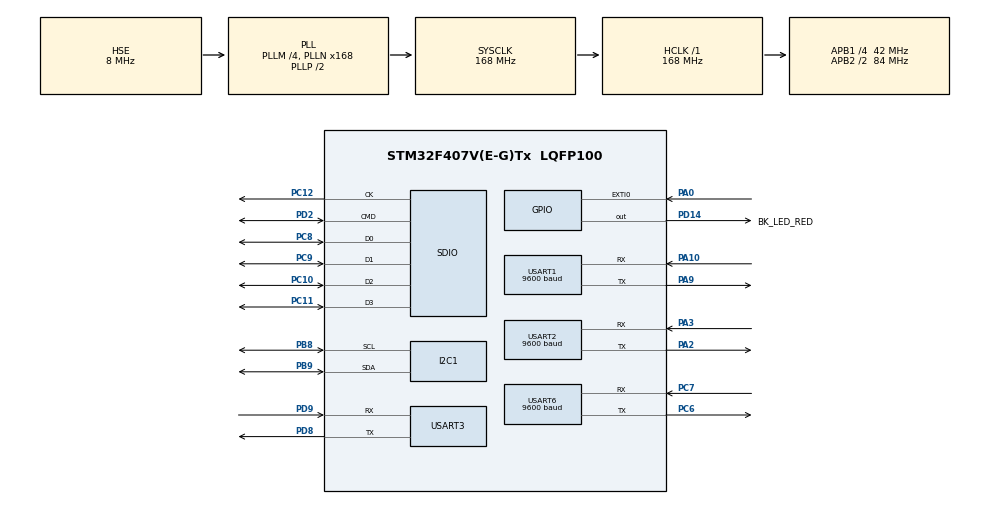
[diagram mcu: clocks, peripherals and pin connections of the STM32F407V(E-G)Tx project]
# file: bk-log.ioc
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Dma.I2C1_RX.0.Direction=DMA_PERIPH_TO_MEMORY
Dma.I2C1_RX.0.FIFOMode=DMA_FIFOMODE_DISABLE
Dma.I2C1_RX.0.Instance=DMA1_Stream0
Dma.I2C1_RX.0.MemDataAlignment=DMA_MDATAALIGN_BYTE
Dma.I2C1_RX.0.MemInc=DMA_MINC_ENABLE
Dma.I2C1_RX.0.Mode=DMA_CIRCULAR
Dma.I2C1_RX.0.PeriphDataAlignment=DMA_PDATAALIGN_BYTE
Dma.I2C1_RX.0.PeriphInc=DMA_PINC_DISABLE
Dma.I2C1_RX.0.Priority=DMA_PRIORITY_LOW
Dma.Request0=I2C1_RX
FATFS._LFN_UNICODE=0
FATFS._MAX_LFN=20
FATFS._USE_LFN=0
I2C1.I2C_Mode=I2C_Fast
Mcu.Family=STM32F4
Mcu.Name=STM32F407V(E-G)Tx
Mcu.Package=LQFP100
NVIC.DMA1_Stream0_IRQn=true\:0\:0\:false\:false\:true
NVIC.EXTI0_IRQn=true\:0\:0\:false\:false\:true
NVIC.I2C1_EV_IRQn=true\:0\:0\:false\:false\:true
NVIC.PriorityGroup=NVIC_PRIORITYGROUP_0
NVIC.TIM2_IRQn=true\:0\:0\:false\:false\:true
PA0-WKUP.Signal=GPXTI0
PA10.Mode=Asynchronous
PA10.Signal=USART1_RX
PA2.Mode=Asynchronous
PA2.Signal=USART2_TX
PA3.Mode=Asynchronous
PA3.Signal=USART2_RX
PA9.Mode=Asynchronous
PA9.Signal=USART1_TX
PB8.Mode=I2C
PB8.Signal=I2C1_SCL
PB9.Mode=I2C
PB9.Signal=I2C1_SDA
PC10.Mode=SD_4_bits_Wide_bus
PC10.Signal=SDIO_D2
PC11.Mode=SD_4_bits_Wide_bus
PC11.Signal=SDIO_D3
PC12.Mode=SD_4_bits_Wide_bus
PC12.Signal=SDIO_CK
PC6.Mode=Asynchronous
PC6.Signal=USART6_TX
PC7.Mode=Asynchronous
PC7.Signal=USART6_RX
PC8.Mode=SD_4_bits_Wide_bus
PC8.Signal=SDIO_D0
PC9.Mode=SD_4_bits_Wide_bus
PC9.Signal=SDIO_D1
PD14.GPIO_Label=BK_LED_RED
PD14.Signal=GPIO_Output
PD2.Mode=SD_4_bits_Wide_bus
PD2.Signal=SDIO_CMD
PD8.Mode=Asynchronous
PD8.Signal=USART3_TX
PD9.Mode=Asynchronous
PD9.Signal=USART3_RX
PH0-OSC_IN.Mode=HSE-External-Oscillator
PH0-OSC_IN.Signal=RCC_OSC_IN
PH1-OSC_OUT.Mode=HSE-External-Oscillator
PH1-OSC_OUT.Signal=RCC_OSC_OUT
ProjectManager.HeapSize=0x2000
ProjectManager.StackSize=0x4000
ProjectManager.TargetToolchain=SW4STM32
RCC.48MHZClocksFreq_Value=48000000
RCC.AHBFreq_Value=168000000
RCC.APB1CLKDivider=RCC_HCLK_DIV4
RCC.APB1Freq_Value=42000000
RCC.APB1TimFreq_Value=84000000
RCC.APB2CLKDivider=RCC_HCLK_DIV2
RCC.APB2Freq_Value=84000000
RCC.APB2TimFreq_Value=168000000
RCC.CortexFreq_Value=168000000
RCC.HCLKFreq_Value=168000000
RCC.HSE_VALUE=8000000
RCC.HSI_VALUE=16000000
RCC.LSE_VALUE=32768
RCC.PLLM=4
RCC.PLLN=168
RCC.PLLQ=7
RCC.PLLSourceVirtual=RCC_PLLSOURCE_HSE
RCC.SYSCLKFreq_VALUE=168000000
RCC.SYSCLKSource=RCC_SYSCLKSOURCE_PLLCLK
RCC.VCOOutputFreq_Value=336000000
TIM2.Period=2499
TIM2.Prescaler=8
USART1.BaudRate=9600
USART1.OverSampling=UART_OVERSAMPLING_8
USART1.VirtualMode=VM_ASYNC
USART2.BaudRate=9600
USART2.OverSampling=UART_OVERSAMPLING_8
USART2.VirtualMode=VM_ASYNC
USART3.VirtualMode=VM_ASYNC
USART6.BaudRate=9600
USART6.OverSampling=UART_OVERSAMPLING_8
USART6.VirtualMode=VM_ASYNC
VP_FATFS_VS_SDIO.Mode=SDIO
VP_TIM2_VS_ClockSourceINT.Mode=Internal
board=STM32F4DISCOVERY

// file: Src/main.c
/**
  ******************************************************************************
  * File Name          : main.c
  * Description        : Main program body
  ******************************************************************************
  * This notice applies to any and all portions of this file
  * that are not between comment pairs USER CODE BEGIN and
  * USER CODE END. Other portions of this file, whether
  * inserted by the user or by software development tools
  * are owned by their respective copyright owners.
  *
  * Copyright (c) 2017 STMicroelectronics International N.V.
  * All rights reserved.
  *
  * Redistribution and use in source and binary forms, with or without
  * modification, are permitted, provided that the following conditions are met:
  *
  * 1. Redistribution of source code must retain the above copyright notice,
  *    this list of conditions and the following disclaimer.
  * 2. Redistributions in binary form must reproduce the above copyright notice,
  *    this list of conditions and the following disclaimer in the documentation
  *    and/or other materials provided with the distribution.
  * 3. Neither the name of STMicroelectronics nor the names of other
  *    contributors to this software may be used to endorse or promote products
  *    derived from this software without specific written permission.
  * 4. This software, including modifications and/or derivative works of this
  *    software, must execute solely and exclusively on microcontroller or
  *    microprocessor devices manufactured by or for STMicroelectronics.
  * 5. Redistribution and use of this software other than as permitted under
  *    this license is void and will automatically terminate your rights under
  *    this license.
  *
  * THIS SOFTWARE IS PROVIDED BY STMICROELECTRONICS AND CONTRIBUTORS "AS IS"
  * AND ANY EXPRESS, IMPLIED OR STATUTORY WARRANTIES, INCLUDING, BUT NOT
  * LIMITED TO, THE IMPLIED WARRANTIES OF MERCHANTABILITY, FITNESS FOR A
  * PARTICULAR PURPOSE AND NON-INFRINGEMENT OF THIRD PARTY INTELLECTUAL PROPERTY
  * RIGHTS ARE DISCLAIMED TO THE FULLEST EXTENT PERMITTED BY LAW. IN NO EVENT
  * SHALL STMICROELECTRONICS OR CONTRIBUTORS BE LIABLE FOR ANY DIRECT, INDIRECT,
  * INCIDENTAL, SPECIAL, EXEMPLARY, OR CONSEQUENTIAL DAMAGES (INCLUDING, BUT NOT
  * LIMITED TO, PROCUREMENT OF SUBSTITUTE GOODS OR SERVICES; LOSS OF USE, DATA,
  * OR PROFITS; OR BUSINESS INTERRUPTION) HOWEVER CAUSED AND ON ANY THEORY OF
  * LIABILITY, WHETHER IN CONTRACT, STRICT LIABILITY, OR TORT (INCLUDING
  * NEGLIGENCE OR OTHERWISE) ARISING IN ANY WAY OUT OF THE USE OF THIS SOFTWARE,
  * EVEN IF ADVISED OF THE POSSIBILITY OF SUCH DAMAGE.
  *
  ******************************************************************************
  */
#include "main.h"
#include "stm32f4xx_hal.h"
#include "fatfs.h"

/* USER CODE BEGIN Includes */
#include "metroTask.h"
#include <string.h>
#define DS3231_SLAVE_ADDRESS 0x68
/* USER CODE END Includes */

I2C_HandleTypeDef hi2c1;
DMA_HandleTypeDef hdma_i2c1_rx;

SD_HandleTypeDef hsd;

TIM_HandleTypeDef htim2;

UART_HandleTypeDef huart1;
UART_HandleTypeDef huart2;
UART_HandleTypeDef huart3;
UART_HandleTypeDef huart6;

/* USER CODE BEGIN PV */
/* Private variables ---------------------------------------------------------*/
uint8_t seconds, minutes, hours, day, date, month, year;
uint8_t sendData[7], receiveData[7];
FATFS SDFatFS;
FIL logFile;
FRESULT sdRes;
char filename[20];
uint32_t uwPrescalerValue = 8;
/* USER CODE END PV */

void SystemClock_Config(void);
static void MX_GPIO_Init(void);
static void MX_DMA_Init(void);
static void MX_I2C1_Init(void);
static void MX_SDIO_SD_Init(void);
static void MX_USART3_UART_Init(void);
static void MX_USART1_UART_Init(void);
static void MX_USART2_UART_Init(void);
static void MX_USART6_UART_Init(void);
static void MX_TIM2_Init(void);

/* USER CODE BEGIN PFP */
/* Private function prototypes -----------------------------------------------*/
static uint8_t DEC2BCD(uint8_t d);
static uint8_t BCD2DEC(uint8_t d);
/* USER CODE END PFP */

int main(void)
{

  /* USER CODE BEGIN 1 */
	uint32_t byteswritten;
  /* USER CODE END 1 */

  /* MCU Configuration----------------------------------------------------------*/

  /* Reset of all peripherals, Initializes the Flash interface and the Systick. */
  HAL_Init();

  /* Configure the system clock */
  SystemClock_Config();

  /* Initialize all configured peripherals */
  MX_GPIO_Init();
  MX_DMA_Init();
  MX_I2C1_Init();
  MX_SDIO_SD_Init();
  MX_FATFS_Init();
  MX_USART3_UART_Init();
  MX_USART1_UART_Init();
  MX_USART2_UART_Init();
  MX_USART6_UART_Init();
  MX_TIM2_Init();

  /* USER CODE BEGIN 2 */
  METRO_Init();
  /* Start Timer Channel1 in interrupt mode*/
	if (HAL_TIM_Base_Start_IT(&htim2) != HAL_OK)
	{
	  // Starting Error
		_Error_Handler(__FILE__, __LINE__);
	}
  //  SD_state = BSP_SD_Init();
  //  if(SD_state != MSD_OK) {
  //  	  while(1);
  //  }
  if(retSD == 0){
	  if(f_mount(&SDFatFS, (TCHAR const*)SD_Path, 0) != FR_OK) {
		  _Error_Handler(__FILE__, __LINE__);
	  } else{
		  FRESULT fr;
		  FILINFO fno;
		  char buf[256],timestamp[20];
		  uint8_t headerRow = 1;
		  HAL_I2C_Mem_Read_DMA(&hi2c1,DS3231_SLAVE_ADDRESS <<1,0,I2C_MEMADD_SIZE_8BIT,receiveData, 7);
		  HAL_Delay(200);
		  sprintf(filename,"%02d-%02d-%d.csv",date,month,year);
		  HAL_UART_Transmit(&huart3,filename,strlen(filename),100);
		  HAL_UART_Transmit(&huart3,"\n",2,100);
		  fr = f_stat(filename, &fno);
		  if(fr == FR_OK){
			  headerRow = 0;
		  }
		  if(f_open(&logFile,filename,FA_OPEN_ALWAYS | FA_WRITE | FA_READ) != FR_OK){
			  _Error_Handler(__FILE__, __LINE__);
		  } else{
			  if(headerRow == 1) {
				  sprintf(buf,"Timestamp,Channel,VRMS,IRMS,ENACT,POWACT,ENAPP,ENREA,POWAPP,FREQ\n");
				  sdRes = f_write(&logFile, buf, strlen(buf),(void *)&byteswritten);
			  }
			  f_lseek(&logFile,f_size(&logFile));

			  while(1){
				  uint32_t RMS_V=0;
				  uint32_t RMS_I=0;
				  int32_t Period=0;
				  int32_t POW_ACT,POW_REACT,POW_APP;
				  int32_t EN_ACT,EN_REACT,EN_APP;

				  HAL_I2C_Mem_Read_DMA(&hi2c1,DS3231_SLAVE_ADDRESS <<1,0,I2C_MEMADD_SIZE_8BIT,receiveData, 7);
				  HAL_Delay(20);
				  sprintf(timestamp,"%02d-%02d-%d#%02d:%02d:%02d",date,month,year,hours,minutes,seconds);

				  if (metroData.metroInactiveTime >= METRO_TIMER) {
					metroData.metroInactiveTime = 0;
					HAL_GPIO_TogglePin(LED2_GPIO_type, LED2_GPIO_pin);
					METRO_Latch_Measures();
					HAL_Delay(20);
					METRO_Get_Measures();
					METRO_UpdateData();

					for(BYTE d=1;d<3;d++){
						Metro_Read_RMS(d,&RMS_V,&RMS_I,1);
						Period = Metro_Read_Period(d);
						EN_ACT = Metro_Read_energy(d,E_W_ACTIVE);
						EN_REACT = Metro_Read_energy(d,E_REACTIVE);
						EN_APP = Metro_Read_energy(d,E_APPARENT);

						POW_ACT = Metro_Read_Power(d, W_ACTIVE);
						POW_REACT = Metro_Read_Power(d, REACTIVE);
						POW_APP = Metro_Read_Power(d, APPARENT_RMS);

						sprintf(buf,"%s,%d,%d,%d,%d,%d,%d,%d,%d,%d,%d\n",
								timestamp,d,
								RMS_V,RMS_I,
								EN_ACT,POW_ACT,
								EN_APP,EN_REACT,
								POW_APP,POW_REACT,
								Period);
						sdRes =f_write(&logFile, buf, strlen(buf), (void *)&byteswritten);
						HAL_UART_Transmit(&huart3,buf,strlen(buf),100);
						if(d != 2){
							HAL_Delay(100);
						}
					}
				    f_sync(&logFile);
				  } //metroData.metroInactiveTime
			  }
		  }
	  }
  }
  FATFS_UnLinkDriver(SD_Path);
  /* USER CODE END 2 */

  /* Infinite loop */
  while (1)
  {

  }

}

/** System Clock Configuration
*/
void SystemClock_Config(void)
{

  RCC_OscInitTypeDef RCC_OscInitStruct;
  RCC_ClkInitTypeDef RCC_ClkInitStruct;

    /**Configure the main internal regulator output voltage
    */
  __HAL_RCC_PWR_CLK_ENABLE();

  __HAL_PWR_VOLTAGESCALING_CONFIG(PWR_REGULATOR_VOLTAGE_SCALE1);

    /**Initializes the CPU, AHB and APB busses clocks
    */
  RCC_OscInitStruct.OscillatorType = RCC_OSCILLATORTYPE_HSE;
  RCC_OscInitStruct.HSEState = RCC_HSE_ON;
  RCC_OscInitStruct.PLL.PLLState = RCC_PLL_ON;
  RCC_OscInitStruct.PLL.PLLSource = RCC_PLLSOURCE_HSE;
  RCC_OscInitStruct.PLL.PLLM = 4;
  RCC_OscInitStruct.PLL.PLLN = 168;
  RCC_OscInitStruct.PLL.PLLP = RCC_PLLP_DIV2;
  RCC_OscInitStruct.PLL.PLLQ = 7;
  if (HAL_RCC_OscConfig(&RCC_OscInitStruct) != HAL_OK)
  {
    _Error_Handler(__FILE__, __LINE__);
  }

    /**Initializes the CPU, AHB and APB busses clocks
    */
  RCC_ClkInitStruct.ClockType = RCC_CLOCKTYPE_HCLK|RCC_CLOCKTYPE_SYSCLK
                              |RCC_CLOCKTYPE_PCLK1|RCC_CLOCKTYPE_PCLK2;
  RCC_ClkInitStruct.SYSCLKSource = RCC_SYSCLKSOURCE_PLLCLK;
  RCC_ClkInitStruct.AHBCLKDivider = RCC_SYSCLK_DIV1;
  RCC_ClkInitStruct.APB1CLKDivider = RCC_HCLK_DIV4;
  RCC_ClkInitStruct.APB2CLKDivider = RCC_HCLK_DIV2;

  if (HAL_RCC_ClockConfig(&RCC_ClkInitStruct, FLASH_LATENCY_5) != HAL_OK)
  {
    _Error_Handler(__FILE__, __LINE__);
  }

    /**Configure the Systick interrupt time
    */
  HAL_SYSTICK_Config(HAL_RCC_GetHCLKFreq()/1000);

    /**Configure the Systick
    */
  HAL_SYSTICK_CLKSourceConfig(SYSTICK_CLKSOURCE_HCLK);

  /* SysTick_IRQn interrupt configuration */
  HAL_NVIC_SetPriority(SysTick_IRQn, 0, 0);
}

/* I2C1 init function */
static void MX_I2C1_Init(void)
{

  hi2c1.Instance = I2C1;
  hi2c1.Init.ClockSpeed = 400000;
  hi2c1.Init.DutyCycle = I2C_DUTYCYCLE_2;
  hi2c1.Init.OwnAddress1 = 0;
  hi2c1.Init.AddressingMode = I2C_ADDRESSINGMODE_7BIT;
  hi2c1.Init.DualAddressMode = I2C_DUALADDRESS_DISABLE;
  hi2c1.Init.OwnAddress2 = 0;
  hi2c1.Init.GeneralCallMode = I2C_GENERALCALL_DISABLE;
  hi2c1.Init.NoStretchMode = I2C_NOSTRETCH_DISABLE;
  if (HAL_I2C_Init(&hi2c1) != HAL_OK)
  {
    _Error_Handler(__FILE__, __LINE__);
  }

}

/* SDIO init function */
static void MX_SDIO_SD_Init(void)
{

  hsd.Instance = SDIO;
  hsd.Init.ClockEdge = SDIO_CLOCK_EDGE_RISING;
  hsd.Init.ClockBypass = SDIO_CLOCK_BYPASS_DISABLE;
  hsd.Init.ClockPowerSave = SDIO_CLOCK_POWER_SAVE_DISABLE;
  hsd.Init.BusWide = SDIO_BUS_WIDE_1B;
  hsd.Init.HardwareFlowControl = SDIO_HARDWARE_FLOW_CONTROL_DISABLE;
  hsd.Init.ClockDiv = 0;

}

/* TIM2 init function */
static void MX_TIM2_Init(void)
{

  TIM_ClockConfigTypeDef sClockSourceConfig;
  TIM_MasterConfigTypeDef sMasterConfig;

  htim2.Instance = TIM2;
  htim2.Init.Prescaler = 8;
  htim2.Init.CounterMode = TIM_COUNTERMODE_UP;
  htim2.Init.Period = 2499;
  htim2.Init.ClockDivision = TIM_CLOCKDIVISION_DIV1;
  if (HAL_TIM_Base_Init(&htim2) != HAL_OK)
  {
    _Error_Handler(__FILE__, __LINE__);
  }

  sClockSourceConfig.ClockSource = TIM_CLOCKSOURCE_INTERNAL;
  if (HAL_TIM_ConfigClockSource(&htim2, &sClockSourceConfig) != HAL_OK)
  {
    _Error_Handler(__FILE__, __LINE__);
  }

  sMasterConfig.MasterOutputTrigger = TIM_TRGO_RESET;
  sMasterConfig.MasterSlaveMode = TIM_MASTERSLAVEMODE_DISABLE;
  if (HAL_TIMEx_MasterConfigSynchronization(&htim2, &sMasterConfig) != HAL_OK)
  {
    _Error_Handler(__FILE__, __LINE__);
  }

}

/* USART1 init function */
static void MX_USART1_UART_Init(void)
{

  huart1.Instance = USART1;
  huart1.Init.BaudRate = 9600;
  huart1.Init.WordLength = UART_WORDLENGTH_8B;
  huart1.Init.StopBits = UART_STOPBITS_1;
  huart1.Init.Parity = UART_PARITY_NONE;
  huart1.Init.Mode = UART_MODE_TX_RX;
  huart1.Init.HwFlowCtl = UART_HWCONTROL_NONE;
  huart1.Init.OverSampling = UART_OVERSAMPLING_8;
  if (HAL_UART_Init(&huart1) != HAL_OK)
  {
    _Error_Handler(__FILE__, __LINE__);
  }

}

/* USART2 init function */
static void MX_USART2_UART_Init(void)
{

  huart2.Instance = USART2;
  huart2.Init.BaudRate = 9600;
  huart2.Init.WordLength = UART_WORDLENGTH_8B;
  huart2.Init.StopBits = UART_STOPBITS_1;
  huart2.Init.Parity = UART_PARITY_NONE;
  huart2.Init.Mode = UART_MODE_TX_RX;
  huart2.Init.HwFlowCtl = UART_HWCONTROL_NONE;
  huart2.Init.OverSampling = UART_OVERSAMPLING_8;
  if (HAL_UART_Init(&huart2) != HAL_OK)
  {
    _Error_Handler(__FILE__, __LINE__);
  }

}

/* USART3 init function */
static void MX_USART3_UART_Init(void)
{

  huart3.Instance = USART3;
  huart3.Init.BaudRate = 115200;
  huart3.Init.WordLength = UART_WORDLENGTH_8B;
  huart3.Init.StopBits = UART_STOPBITS_1;
  huart3.Init.Parity = UART_PARITY_NONE;
  huart3.Init.Mode = UART_MODE_TX_RX;
  huart3.Init.HwFlowCtl = UART_HWCONTROL_NONE;
  huart3.Init.OverSampling = UART_OVERSAMPLING_16;
  if (HAL_UART_Init(&huart3) != HAL_OK)
  {
    _Error_Handler(__FILE__, __LINE__);
  }

}

/* USART6 init function */
static void MX_USART6_UART_Init(void)
{

  huart6.Instance = USART6;
  huart6.Init.BaudRate = 9600;
  huart6.Init.WordLength = UART_WORDLENGTH_8B;
  huart6.Init.StopBits = UART_STOPBITS_1;
  huart6.Init.Parity = UART_PARITY_NONE;
  huart6.Init.Mode = UART_MODE_TX_RX;
  huart6.Init.HwFlowCtl = UART_HWCONTROL_NONE;
  huart6.Init.OverSampling = UART_OVERSAMPLING_8;
  if (HAL_UART_Init(&huart6) != HAL_OK)
  {
    _Error_Handler(__FILE__, __LINE__);
  }

}

static void MX_DMA_Init(void)
{
  /* DMA controller clock enable */
  __HAL_RCC_DMA1_CLK_ENABLE();

  /* DMA interrupt init */
  /* DMA1_Stream0_IRQn interrupt configuration */
  HAL_NVIC_SetPriority(DMA1_Stream0_IRQn, 0, 0);
  HAL_NVIC_EnableIRQ(DMA1_Stream0_IRQn);

}

/** Configure pins as
        * Analog
        * Input
        * Output
        * EVENT_OUT
        * EXTI
*/
static void MX_GPIO_Init(void)
{

  GPIO_InitTypeDef GPIO_InitStruct;

  /* GPIO Ports Clock Enable */
  __HAL_RCC_GPIOH_CLK_ENABLE();
  __HAL_RCC_GPIOA_CLK_ENABLE();
  __HAL_RCC_GPIOD_CLK_ENABLE();
  __HAL_RCC_GPIOC_CLK_ENABLE();
  __HAL_RCC_GPIOB_CLK_ENABLE();

  /*Configure GPIO pin Output Level */
  HAL_GPIO_WritePin(BK_LED_RED_GPIO_Port, BK_LED_RED_Pin, GPIO_PIN_RESET);

  /*Configure GPIO pin : PA0 */
  GPIO_InitStruct.Pin = GPIO_PIN_0;
  GPIO_InitStruct.Mode = GPIO_MODE_IT_RISING;
  GPIO_InitStruct.Pull = GPIO_NOPULL;
  HAL_GPIO_Init(GPIOA, &GPIO_InitStruct);

  /*Configure GPIO pin : BK_LED_RED_Pin */
  GPIO_InitStruct.Pin = BK_LED_RED_Pin;
  GPIO_InitStruct.Mode = GPIO_MODE_OUTPUT_PP;
  GPIO_InitStruct.Pull = GPIO_NOPULL;
  GPIO_InitStruct.Speed = GPIO_SPEED_FREQ_LOW;
  HAL_GPIO_Init(BK_LED_RED_GPIO_Port, &GPIO_InitStruct);

  /* EXTI interrupt init*/
  HAL_NVIC_SetPriority(EXTI0_IRQn, 0, 0);
  HAL_NVIC_EnableIRQ(EXTI0_IRQn);

}

/* USER CODE BEGIN 4 */
static uint8_t BCD2DEC(uint8_t d)
{
	return (d>>4)*10 + (d&0x0f);
}

static uint8_t DEC2BCD(uint8_t d)
{
	return (d/10)<<4|(d%10);
}
//static uint8_t bcd2bin (uint8_t val) {
//	return val - 6 * (val >> 4);
//}
//static uint8_t bin2bcd (uint8_t val) {
//	return val + 6 * (val / 10);
//}

void HAL_I2C_MemRxCpltCallback(I2C_HandleTypeDef *hi2c) {
	if(hi2c->Instance == hi2c1.Instance) {
		seconds = BCD2DEC(receiveData[0]);
		minutes = BCD2DEC(receiveData[1]);
		hours = BCD2DEC(receiveData[2]);

		day = BCD2DEC(receiveData[3]);
		date = BCD2DEC(receiveData[4]);
		month = BCD2DEC(receiveData[5]);
		year = BCD2DEC(receiveData[6]);
	}
}
void HAL_GPIO_EXTI_Callback(uint16_t GPIO_Pin){
	if(GPIO_Pin == GPIO_PIN_0){
		sendData[0]=DEC2BCD(00);
		sendData[1]=DEC2BCD(9);
		sendData[2]=DEC2BCD(18);

		sendData[3]=DEC2BCD(5);
		sendData[4]=DEC2BCD(14);
		sendData[5]=DEC2BCD(07);
		sendData[6]=DEC2BCD(17);
		HAL_I2C_Mem_Write_IT(&hi2c1,DS3231_SLAVE_ADDRESS<<1,0,I2C_MEMADD_SIZE_8BIT,sendData,7);
	}
}
void HAL_TIM_PeriodElapsedCallback(TIM_HandleTypeDef *htim)
{
  if (htim==&htim2)
  {
    metroData.metroInactiveTime += 1;
  }

}
/* USER CODE END 4 */

void _Error_Handler(char * file, int line)
{
  /* USER CODE BEGIN Error_Handler_Debug */
  /* User can add his own implementation to report the HAL error return state */
  while(1)
  {
	  HAL_GPIO_TogglePin(BK_LED_RED_GPIO_Port,BK_LED_RED_Pin);
	  HAL_Delay(3000);
  }
  /* USER CODE END Error_Handler_Debug */
}

/************************ (C) COPYRIGHT STMicroelectronics *****END OF FILE****/
